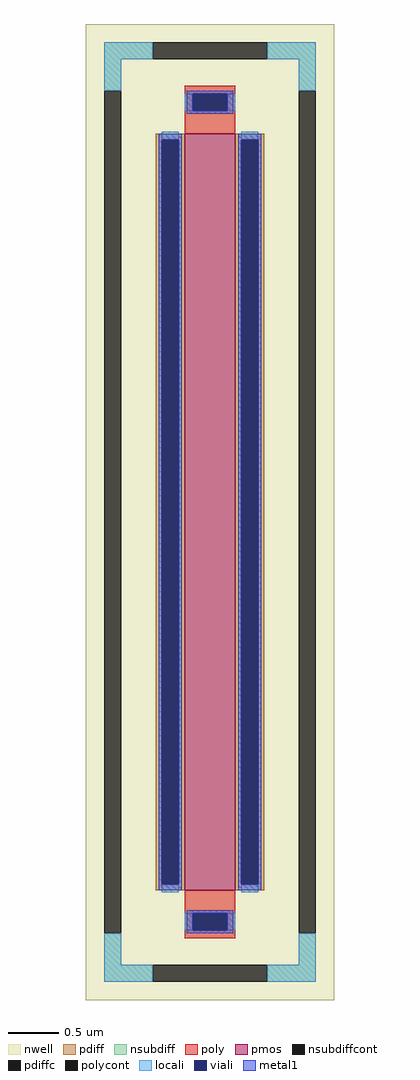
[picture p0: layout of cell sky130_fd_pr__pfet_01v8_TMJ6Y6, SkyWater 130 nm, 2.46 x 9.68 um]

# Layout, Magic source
magic
tech sky130A
magscale 1 2
<< nwell >>
rect -246 -968 246 968
<< pmos >>
rect -50 -750 50 750
<< pdiff >>
rect -108 738 -50 750
rect -108 -738 -96 738
rect -62 -738 -50 738
rect -108 -750 -50 -738
rect 50 738 108 750
rect 50 -738 62 738
rect 96 -738 108 738
rect 50 -750 108 -738
<< pdiffc >>
rect -96 -738 -62 738
rect 62 -738 96 738
<< nsubdiff >>
rect -210 898 -114 932
rect 114 898 210 932
rect -210 836 -176 898
rect 176 836 210 898
rect -210 -898 -176 -836
rect 176 -898 210 -836
rect -210 -932 -114 -898
rect 114 -932 210 -898
<< nsubdiffcont >>
rect -114 898 114 932
rect -210 -836 -176 836
rect 176 -836 210 836
rect -114 -932 114 -898
<< poly >>
rect -50 830 50 846
rect -50 796 -34 830
rect 34 796 50 830
rect -50 750 50 796
rect -50 -796 50 -750
rect -50 -830 -34 -796
rect 34 -830 50 -796
rect -50 -846 50 -830
<< polycont >>
rect -34 796 34 830
rect -34 -830 34 -796
<< locali >>
rect -210 898 -114 932
rect 114 898 210 932
rect -210 836 -176 898
rect 176 836 210 898
rect -50 796 -34 830
rect 34 796 50 830
rect -96 738 -62 754
rect -96 -754 -62 -738
rect 62 738 96 754
rect 62 -754 96 -738
rect -50 -830 -34 -796
rect 34 -830 50 -796
rect -210 -898 -176 -836
rect 176 -898 210 -836
rect -210 -932 -114 -898
rect 114 -932 210 -898
<< viali >>
rect -34 796 34 830
rect -96 -738 -62 738
rect 62 -738 96 738
rect -34 -830 34 -796
<< metal1 >>
rect -46 830 46 836
rect -46 796 -34 830
rect 34 796 46 830
rect -46 790 46 796
rect -102 738 -56 750
rect -102 -738 -96 738
rect -62 -738 -56 738
rect -102 -750 -56 -738
rect 56 738 102 750
rect 56 -738 62 738
rect 96 -738 102 738
rect 56 -750 102 -738
rect -46 -796 46 -790
rect -46 -830 -34 -796
rect 34 -830 46 -796
rect -46 -836 46 -830
<< properties >>
string FIXED_BBOX -192 -916 192 916
string gencell sky130_fd_pr__pfet_01v8
string library sky130
string parameters w 7.5 l 0.5 m 1 nf 1 diffcov 100 polycov 100 guard 1 glc 1 grc 1 gtc 1 gbc 1 tbcov 100 rlcov 100 topc 1 botc 1 poverlap 0 doverlap 1 lmin 0.15 wmin 0.42 compatible {sky130_fd_pr__pfet_01v8  sky130_fd_pr__pfet_01v8_lvt sky130_fd_pr__pfet_01v8_hvt  sky130_fd_pr__pfet_g5v0d10v5} full_metal 1 viasrc 100 viadrn 100 viagate 100 viagb 0 viagr 0 viagl 0 viagt 0
<< end >>
